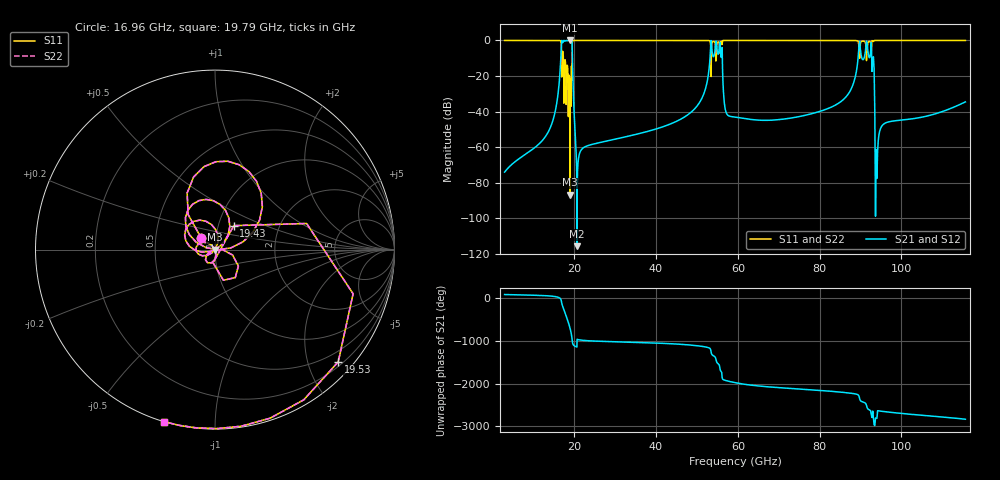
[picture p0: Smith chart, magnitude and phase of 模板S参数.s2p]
! markimicrowave.com
! Date: Sat Aug 29 2026 19:53:11 GMT+0800 (中国标准时间)
# Hz S DB R 50.00
!Frequency  S11 dB  S11 Deg  S21 dB  S21 Deg  S12 dB  S12 Deg  S22 dB  S22 Deg
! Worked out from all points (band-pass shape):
!   2000 points, 2.962 GHz to 115.6 GHz, reference 50 ohm
!   highest |S21| = 0.00 dB at 18.94 GHz (marker M1); lowest = -115.6 dB at 20.68 GHz (marker M2)
!   |S21| within 3 dB of the highest: 16.83 GHz to 19.48 GHz (2.648 GHz wide, 14.6 % of centre); 54.52 GHz to 54.83 GHz (314.5 MHz wide, 0.575 % of centre)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
!   lowest |S11| = -86.7 dB at 18.94 GHz (marker M3), VSWR 1.00, Z = 50 - j0.00424 ohm
!   |S11| at or under -10 dB: 16.9 GHz to 17.02 GHz (116.2 MHz wide, 0.685 % of centre); 17.33 GHz to 19.45 GHz (2.117 GHz wide, 11.5 % of centre); 53.38614 GHz to 53.5067 GHz (120.6 MHz wide, 0.226 % of centre)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
!   |S22| runs from -86.7 to 0.0 dB; largest |S21 - S12| = 0
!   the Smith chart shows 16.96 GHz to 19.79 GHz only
!   S11 on the Smith chart (normalised r, x): 16.96 GHz: 0.85, +0.11; 19.43 GHz: 1.19, +0.33; 19.53 GHz: 0.28, -2.56; 19.79 GHz: 0.00, -0.75
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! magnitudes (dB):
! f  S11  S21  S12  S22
! 2.962 GHz  0.0  -74.0  -74.0  0.0
! 13.99 GHz  0.0  -49.7  -49.7  0.0
! 15.79 GHz  0.0  -34.0  -34.0  0.0
! 16.96 GHz  -20.2  0.0  0.0  -20.2
! 18.94 GHz  -86.7  0.0  0.0  -86.7
! 19.43 GHz  -15.4  -0.1  -0.1  -15.4
! 19.53 GHz  -0.6  -8.6  -8.6  -0.6
! 19.79 GHz  0.0  -30.8  -30.8  0.0
! 20.68 GHz  0.0  -115.6  -115.6  0.0
! 21.77 GHz  0.0  -61.3  -61.3  0.0
! 40.52 GHz  0.0  -49.4  -49.4  0.0
! 50.12 GHz  0.0  -36.5  -36.5  0.0
! 54.33 GHz  -1.0  -6.9  -6.9  -1.0
! 55.44 GHz  -1.9  -4.5  -4.5  -1.9
! 57.51 GHz  0.0  -41.9  -41.9  0.0
! 59.33 GHz  0.0  -43.1  -43.1  0.0
! 78.11 GHz  0.0  -41.1  -41.1  0.0
! 86.24 GHz  0.0  -32.2  -32.2  0.0
! 90.94 GHz  -0.5  -9.3  -9.3  -0.5
! 95.21 GHz  0.0  -48.1  -48.1  0.0
! 96.97 GHz  0.0  -45.7  -45.7  0.0
! 115.6 GHz  0.0  -34.5  -34.5  0.0
